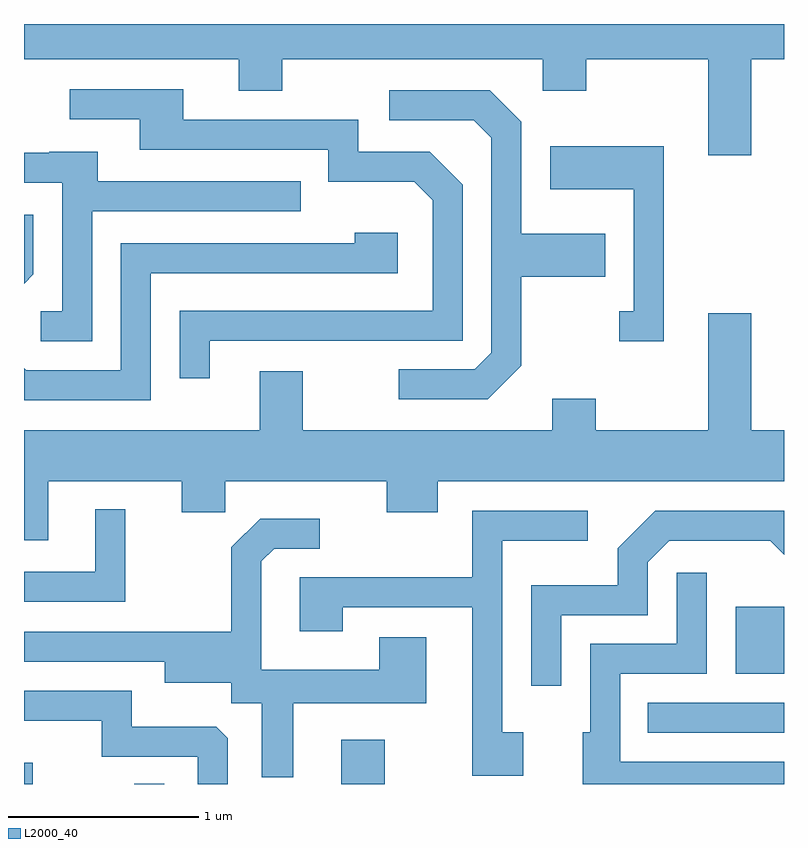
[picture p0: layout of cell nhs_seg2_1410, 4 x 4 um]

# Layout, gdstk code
import gdstk
lib = gdstk.Library(unit=1e-6, precision=1e-09)
def R(c, l, rs):  # rectangles x0, y0, x1, y1
    for r in rs: c.add(gdstk.rectangle(r[:2], r[2:], *l))
def P(c, l, *ps):  # polygons
    for p in ps: c.add(gdstk.Polygon(p, *l))
L2000_40 = (2000, 40)

nhs_seg2_1410 = lib.new_cell('nhs_seg2_1410')
R(nhs_seg2_1410, L2000_40, [(225.611,1077.802,225.658,1077.914), (226.191,1077.802,226.349,1077.803), (227.281,1077.802,227.509,1078.034), (228.893,1078.071,229.611,1078.229), (229.356,1078.381,229.611,1078.734)])
P(nhs_seg2_1410, L2000_40, [(229.439,1081.616),(229.611,1081.616),(229.611,1081.802),(225.611,1081.802),(225.611,1081.616),(226.741,1081.616),(226.741,1081.451),(226.969,1081.451),(226.969,1081.616),(228.341,1081.616),(228.341,1081.451),(228.569,1081.451),(228.569,1081.616),(229.211,1081.616),(229.211,1081.111),(229.439,1081.111)],
  [(226.589,1080.136),(227.919,1080.136),(227.919,1080.957),(227.747,1081.129),(227.369,1081.129),(227.369,1081.299),(226.449,1081.299),(226.449,1081.459),(225.853,1081.459),(225.853,1081.301),(226.221,1081.301),(226.221,1081.141),(227.211,1081.141),(227.211,1080.971),(227.664,1080.971),(227.761,1080.874),(227.761,1080.294),(226.431,1080.294),(226.431,1079.938),(226.589,1079.938)],
  [(228.229,1080.004),(228.229,1080.471),(228.669,1080.471),(228.669,1080.699),(228.229,1080.699),(228.229,1081.287),(228.062,1081.454),(227.533,1081.454),(227.533,1081.296),(227.979,1081.296),(228.071,1081.204),(228.071,1080.072),(227.984,1079.984),(227.583,1079.984),(227.583,1079.826),(228.052,1079.826)],
  [(228.979,1081.159),(228.381,1081.159),(228.381,1080.931),(228.821,1080.931),(228.821,1080.289),(228.743,1080.289),(228.743,1080.131),(228.979,1080.131)],
  [(225.969,1080.816),(227.068,1080.816),(227.068,1080.974),(225.999,1080.974),(225.999,1081.129),(225.745,1081.129),(225.745,1081.124),(225.611,1081.124),(225.611,1080.966),(225.811,1080.966),(225.811,1080.289),(225.698,1080.289),(225.698,1080.131),(225.969,1080.131)],
  [(225.659,1080.484),(225.659,1080.798),(225.611,1080.798),(225.611,1080.436)],
  [(226.279,1080.491),(227.579,1080.491),(227.579,1080.704),(227.351,1080.704),(227.351,1080.649),(226.121,1080.649),(226.121,1079.979),(225.622,1079.979),(225.611,1079.99),(225.611,1079.821),(226.279,1079.821)],
  [(225.739,1079.396),(226.441,1079.396),(226.441,1079.231),(226.669,1079.231),(226.669,1079.396),(227.521,1079.396),(227.521,1079.231),(227.789,1079.231),(227.789,1079.396),(229.611,1079.396),(229.611,1079.664),(229.439,1079.664),(229.439,1080.279),(229.211,1080.279),(229.211,1079.664),(228.619,1079.664),(228.619,1079.829),(228.391,1079.829),(228.391,1079.664),(227.079,1079.664),(227.079,1079.974),(226.851,1079.974),(226.851,1079.664),(225.611,1079.664),(225.611,1079.086),(225.739,1079.086)],
  [(226.144,1079.248),(225.986,1079.248),(225.986,1078.919),(225.611,1078.919),(225.611,1078.761),(226.144,1078.761)],
  [(228.239,1078.074),(228.129,1078.074),(228.129,1079.081),(228.578,1079.081),(228.578,1079.239),(227.971,1079.239),(227.971,1078.889),(227.061,1078.889),(227.061,1078.606),(227.289,1078.606),(227.289,1078.731),(227.971,1078.731),(227.971,1077.846),(228.239,1077.846)],
  [(228.439,1078.691),(228.894,1078.691),(228.894,1078.969),(229.007,1079.081),(229.539,1079.081),(229.611,1079.009),(229.611,1079.239),(228.934,1079.239),(228.736,1079.042),(228.736,1078.849),(228.281,1078.849),(228.281,1078.318),(228.439,1078.318)],
  [(227.029,1078.226),(227.729,1078.226),(227.729,1078.574),(227.481,1078.574),(227.481,1078.404),(226.859,1078.404),(226.859,1078.974),(226.927,1079.041),(227.168,1079.041),(227.168,1079.199),(226.854,1079.199),(226.701,1079.047),(226.701,1078.604),(225.611,1078.604),(225.611,1078.446),(226.351,1078.446),(226.351,1078.336),(226.701,1078.336),(226.701,1078.226),(226.861,1078.226),(226.861,1077.838),(227.029,1077.838)],
  [(229.611,1077.919),(228.749,1077.919),(228.749,1078.381),(229.204,1078.381),(229.204,1078.913),(229.046,1078.913),(229.046,1078.539),(228.591,1078.539),(228.591,1078.074),(228.551,1078.074),(228.551,1077.802),(229.611,1077.802)],
  [(226.684,1078.044),(226.624,1078.104),(226.179,1078.104),(226.179,1078.294),(225.611,1078.294),(225.611,1078.136),(226.021,1078.136),(226.021,1077.946),(226.526,1077.946),(226.526,1077.802),(226.684,1077.802)])

lib.write_gds('nhs_seg2_1410.gds')
